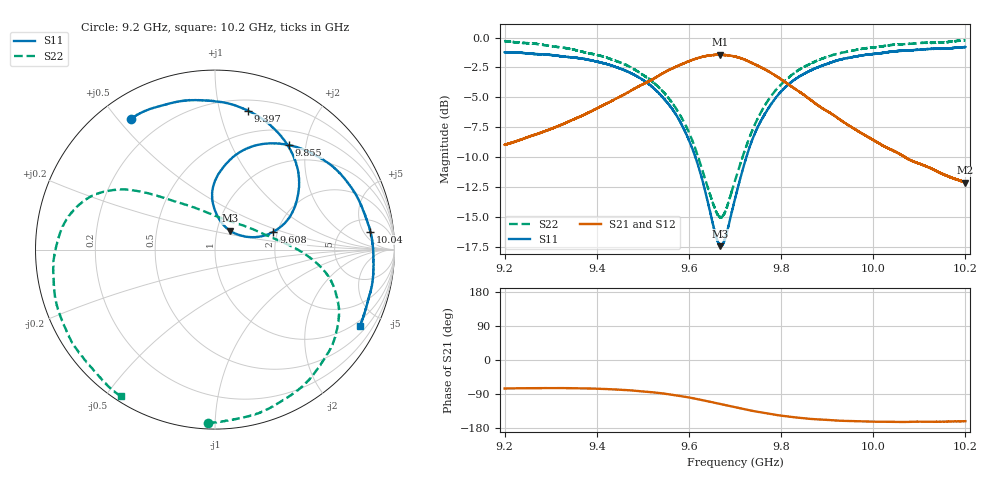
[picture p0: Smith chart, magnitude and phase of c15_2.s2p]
!Agilent Technologies,N5242A,MY51221714,A.09.90.19
!Agilent N5242A: A.09.90.19
!Date: Saturday, January 13, 2024 13:25:25
!Correction: S11(Full 2 Port(1,2))
!S21(Full 2 Port(1,2))
!S12(Full 2 Port(1,2))
!S22(Full 2 Port(1,2))
!S2P File: Measurements: S11, S21, S12, S22:
# Hz S  dB  R 50
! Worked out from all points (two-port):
!   16001 points, 9.2 GHz to 10.2 GHz, reference 50 ohm
!   highest |S21| = -1.44 dB at 9.668 GHz (marker M1); lowest = -12.1 dB at 10.2 GHz (marker M2)
!   |S21| within 3 dB of the highest: 9.474509 GHz to 9.474666 GHz (157.5 kHz wide, 0.00166 % of centre); 9.475 GHz to 9.836 GHz (360.8 MHz wide, 3.74 % of centre)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
!   lowest |S11| = -17.5 dB at 9.668 GHz (marker M3), VSWR 1.31, Z = 57.5 + j12.4 ohm
!   |S11| at or under -10 dB: 9.614 GHz to 9.725 GHz (110.8 MHz wide, 1.15 % of centre)
!   |S22| runs from -15.1 to -0.2 dB; largest |S21 - S12| = 0.03
!   S11 on the Smith chart (normalised r, x): 9.2 GHz: 0.09, +0.54; 9.397 GHz: 0.29, +1.22; 9.608 GHz: 1.90, +0.43; 9.855 GHz: 0.72, +1.70; 10.04 GHz: 9, +7; 10.2 GHz: 0.77, -3.89
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9.2e9  -1.25 122.9  -8.98 -75.2  -8.96 -77.1  -0.30 -92.2
9.274375e9  -1.40 106.4  -8.02 -74.3  -7.99 -76.0  -0.57 -72.3
9.366688e9  -1.76 84.5  -6.56 -74.8  -6.54 -76.6  -1.18 -48.5
9.396562e9  -1.99 76.8  -6.01 -75.6  -5.97 -77.5  -1.42 -41.0
9.46375e9  -2.80 58.3  -4.67 -79.4  -4.66 -81.2  -2.29 -25.7
9.533375e9  -4.60 37.3  -3.22 -86.8  -3.18 -88.5  -4.12 -11.2
9.570312e9  -6.36 25.9  -2.47 -93.0  -2.44 -94.9  -5.83 -3.5
9.607875e9  -9.36 16.9  -1.86 -100.6  -1.85 -102.6  -8.66 7.3
9.668e9  -17.37 51.7  -1.44 -116.0  -1.42 -117.8  -15.03 68.5
9.668375e9  -17.46 52.5  -1.45 -116.1  -1.42 -117.9  -15.04 69.2
9.7e9  -13.51 89.2  -1.60 -124.6  -1.56 -126.5  -11.99 114.0
9.728438e9  -9.54 92.3  -1.97 -132.0  -1.95 -134.0  -8.66 131.6
9.759562e9  -6.74 84.3  -2.56 -138.9  -2.53 -141.0  -6.03 140.7
9.807062e9  -4.24 69.8  -3.68 -147.9  -3.69 -149.8  -3.68 149.6
9.854625e9  -2.93 54.7  -4.94 -154.4  -4.94 -156.3  -2.37 157.8
9.866688e9  -2.72 51.1  -5.30 -155.7  -5.28 -157.6  -2.14 159.9
9.944062e9  -1.71 29.5  -7.28 -160.8  -7.28 -162.9  -1.18 175.3
1.003338e10  -1.22 7.5  -9.28 -163.0  -9.25 -165.0  -0.65 -164.3
1.003712e10  -1.20 6.6  -9.35 -163.1  -9.33 -165.0  -0.63 -163.4
1.011056e10  -0.98 -9.3  -10.71 -162.8  -10.70 -164.7  -0.44 -145.6
1.019994e10  -0.81 -27.8  -12.14 -161.5  -12.12 -163.8  -0.25 -122.8
1.02e10  -0.80 -27.8  -12.13 -161.5  -12.12 -163.8  -0.26 -122.7
